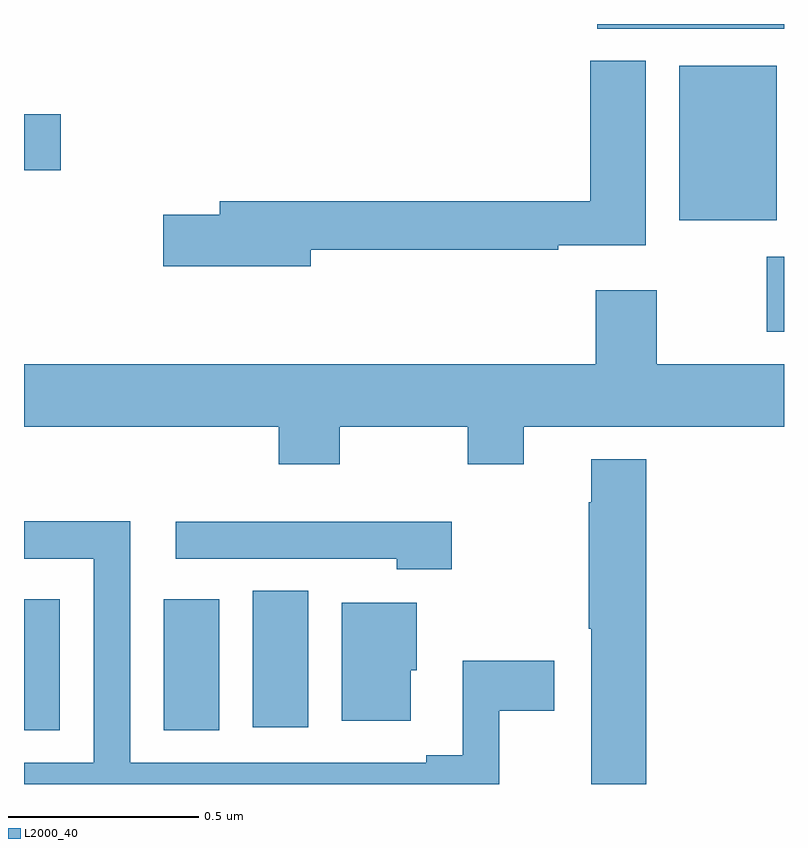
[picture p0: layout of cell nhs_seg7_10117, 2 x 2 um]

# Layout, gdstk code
import gdstk
lib = gdstk.Library(unit=1e-6, precision=1e-09)
def R(c, l, rs):  # rectangles x0, y0, x1, y1
    for r in rs: c.add(gdstk.rectangle(r[:2], r[2:], *l))
def P(c, l, *ps):  # polygons
    for p in ps: c.add(gdstk.Polygon(p, *l))
L2000_40 = (2000, 40)

nhs_seg7_10117 = lib.new_cell('nhs_seg7_10117')
R(nhs_seg7_10117, L2000_40, [(246,1009.141,246.094,1009.486), (246.368,1009.141,246.514,1009.486), (246.602,1009.149,246.748,1009.508), (247.954,1010.19,248,1010.388), (247.724,1010.483,247.981,1010.89), (246,1010.615,246.097,1010.762), (247.509,1010.988,248,1011)])
P(nhs_seg7_10117, L2000_40, [(246.754,1010.406),(247.406,1010.406),(247.406,1010.418),(247.636,1010.418),(247.636,1010.903),(247.49,1010.903),(247.49,1010.534),(246.515,1010.534),(246.515,1010.498),(246.366,1010.498),(246.366,1010.363),(246.754,1010.363)],
  [(246.831,1009.94),(247.168,1009.94),(247.168,1009.841),(247.315,1009.841),(247.315,1009.94),(248,1009.94),(248,1010.104),(247.665,1010.104),(247.665,1010.299),(247.505,1010.299),(247.505,1010.104),(246,1010.104),(246,1009.94),(246.671,1009.94),(246.671,1009.841),(246.831,1009.841)],
  [(247.637,1009.855),(247.493,1009.855),(247.493,1009.742),(247.486,1009.742),(247.486,1009.408),(247.493,1009.408),(247.493,1009),(247.637,1009)],
  [(247.251,1009.193),(247.396,1009.193),(247.396,1009.325),(247.154,1009.325),(247.154,1009.076),(247.058,1009.076),(247.058,1009.056),(246.279,1009.056),(246.279,1009.692),(246,1009.692),(246,1009.593),(246.183,1009.593),(246.183,1009.056),(246,1009.056),(246,1009),(247.251,1009)],
  [(247.126,1009.69),(246.399,1009.69),(246.399,1009.593),(246.981,1009.593),(246.981,1009.565),(247.126,1009.565)],
  [(247.018,1009.299),(247.033,1009.299),(247.033,1009.477),(246.836,1009.477),(246.836,1009.166),(247.018,1009.166)])

lib.write_gds('nhs_seg7_10117.gds')
